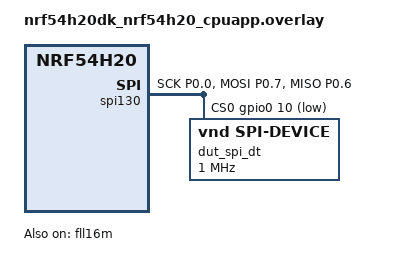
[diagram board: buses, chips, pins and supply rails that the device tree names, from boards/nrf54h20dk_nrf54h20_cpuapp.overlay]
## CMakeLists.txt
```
#
# Copyright (c) 2025 Nordic Semiconductor ASA
#
# SPDX-License-Identifier: LicenseRef-Nordic-5-Clause
#

cmake_minimum_required(VERSION 3.20.0)

find_package(Zephyr REQUIRED HINTS $ENV{ZEPHYR_BASE})

project(spim_clock_control)

target_sources(app PRIVATE src/main.c)
```

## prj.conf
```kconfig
CONFIG_SPI=y

CONFIG_CLOCK_CONTROL=y
CONFIG_ZTEST=y
```

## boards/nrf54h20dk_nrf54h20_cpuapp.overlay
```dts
/*
 * Copyright (c) 2025 Nordic Semiconductor ASA
 *
 * SPDX-License-Identifier: LicenseRef-Nordic-5-Clause
 */

/* Required loopbacks:
 * P0.07 <-> P0.06
 */

&pinctrl {
	dut_spi_default: dut_spi_default {
		group1 {
			psels = <NRF_PSEL(SPIM_SCK, 0, 0)>,
				<NRF_PSEL(SPIM_MOSI, 0, 7)>,
				<NRF_PSEL(SPIM_MISO, 0, 6)>;
		};
	};

	dut_spi_sleep: dut_spi_sleep {
		group1 {
			psels = <NRF_PSEL(SPIM_SCK, 0, 0)>,
				<NRF_PSEL(SPIM_MISO, 0, 6)>,
				<NRF_PSEL(SPIM_MOSI, 0, 7)>;
			low-power-enable;
		};
	};
};

dut_spi: &spi130 {
	compatible = "nordic,nrf-spim";
	status = "okay";
	pinctrl-0 = <&dut_spi_default>;
	pinctrl-1 = <&dut_spi_sleep>;
	pinctrl-names = "default", "sleep";
	overrun-character = <0x00>;
	memory-regions = <&cpuapp_dma_region>;
	cs-gpios = <&gpio0 10 GPIO_ACTIVE_LOW>;
	zephyr,pm-device-runtime-auto;

	dut_spi_dt: test-spi-dev@0 {
		compatible = "vnd,spi-device";
		reg = <0>;
		spi-max-frequency = <DT_FREQ_M(1)>;
	};
};

&fll16m {
	status = "okay";
};

&exmif {
	status = "disabled";
};
```

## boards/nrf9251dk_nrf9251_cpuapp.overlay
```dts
/*
 * Copyright (c) 2026 Nordic Semiconductor ASA
 *
 * SPDX-License-Identifier: LicenseRef-Nordic-5-Clause
 */

/* Required loopbacks:
 * P2.03 <-> P2.09
 */

&pinctrl {
	dut_spi_default: dut_spi_default {
		group1 {
			psels = <NRF_PSEL(SPIM_SCK, 2, 0)>,
				<NRF_PSEL(SPIM_MOSI, 2, 3)>,
				<NRF_PSEL(SPIM_MISO, 2, 9)>;
		};
	};

	dut_spi_sleep: dut_spi_sleep {
		group1 {
			psels = <NRF_PSEL(SPIM_SCK, 2, 0)>,
				<NRF_PSEL(SPIM_MOSI, 2, 3)>,
				<NRF_PSEL(SPIM_MISO, 2, 9)>;
			low-power-enable;
		};
	};
};

dut_spi: &spi130 {
	compatible = "nordic,nrf-spim";
	status = "okay";
	pinctrl-0 = <&dut_spi_default>;
	pinctrl-1 = <&dut_spi_sleep>;
	pinctrl-names = "default", "sleep";
	overrun-character = <0x00>;
	memory-regions = <&cpuapp_dma_region>;
	cs-gpios = <&gpio1 4 GPIO_ACTIVE_LOW>;
	zephyr,pm-device-runtime-auto;

	dut_spi_dt: test-spi-dev@0 {
		compatible = "vnd,spi-device";
		reg = <0>;
		spi-max-frequency = <DT_FREQ_M(1)>;
	};
};

&gpio1 {
	status = "okay";
};

&fll16m {
	status = "okay";
};

/* Disable EXMIF node if it's added to the board definition later. */
```

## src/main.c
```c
/*
 * Copyright (c) 2025 Nordic Semiconductor ASA
 *
 * SPDX-License-Identifier: LicenseRef-Nordic-5-Clause
 */

#include <zephyr/kernel.h>
#include <zephyr/drivers/spi.h>
#include <zephyr/devicetree/clocks.h>
#include <zephyr/drivers/clock_control/nrf_clock_control.h>
#include <dmm.h>
#include <zephyr/ztest.h>

/* SPI MODE 0 */
#define SPI_MODE (SPI_OP_MODE_CONTROLLER | SPI_WORD_SET(8) | SPI_LINES_SINGLE | SPI_TRANSFER_MSB)

#define DUT_SPI_NODE		     DT_NODELABEL(dut_spi)
#define TEST_BUFFER_SIZE	     512
#define REQUEST_SERVING_WAIT_TIME_US 10000

static struct spi_dt_spec spim_spec = SPI_DT_SPEC_GET(DT_NODELABEL(dut_spi_dt), SPI_MODE);
const struct device *const fll16m_dev = DEVICE_DT_GET(DT_NODELABEL(fll16m));

static uint8_t tx_buffer[TEST_BUFFER_SIZE] DMM_MEMORY_SECTION(DT_BUS(DT_NODELABEL(dut_spi_dt)));
static uint8_t rx_buffer[TEST_BUFFER_SIZE] DMM_MEMORY_SECTION(DT_BUS(DT_NODELABEL(dut_spi_dt)));

const struct nrf_clock_spec fll16m_open_loop_mode = {
	.frequency = MHZ(16),
	.accuracy = NRF_CLOCK_CONTROL_ACCURACY_PPM(20000),
	.precision = NRF_CLOCK_CONTROL_PRECISION_DEFAULT,
};

const struct nrf_clock_spec fll16m_bypass_mode = {
	.frequency = MHZ(16),
	.accuracy = NRF_CLOCK_CONTROL_ACCURACY_PPM(30),
	.precision = NRF_CLOCK_CONTROL_PRECISION_DEFAULT,
};

static void request_clock_spec(const struct device *clk_dev, const struct nrf_clock_spec *clk_spec)
{
	int ret = 0;
	int res = 0;
	struct onoff_client cli;
	uint32_t rate;

	TC_PRINT("Clock: %s, requesting frequency=%d, accuracy=%d, precision=%d\n", clk_dev->name,
		 clk_spec->frequency, clk_spec->accuracy, clk_spec->precision);
	sys_notify_init_spinwait(&cli.notify);
	ret = nrf_clock_control_request(clk_dev, clk_spec, &cli);
	zassert_true((ret >= 0 && ret <= 2),
		     "Clock control request response outside of range, ret = %d\n", ret);
	do {
		ret = sys_notify_fetch_result(&cli.notify, &res);
		k_yield();
	} while (ret == -EAGAIN);
	zassert_ok(ret, "ret != 0, ret = %d\n", ret);
	zassert_ok(res, "ret != 0, ret = %d\n", res);
	ret = clock_control_get_rate(clk_dev, NULL, &rate);
	if (ret != -ENOSYS) {
		zassert_ok(ret, "ret != 0, ret = %d\n", ret);
		zassert_equal(rate, clk_spec->frequency,
			      "Clock frequency != requested frequnecy\n");
		k_busy_wait(REQUEST_SERVING_WAIT_TIME_US);
	}
}

static void *test_setup(void)
{
	zassert_true(spi_is_ready_dt(&spim_spec), "SPIM device is not ready");

	return NULL;
}

static void set_buffers(void)
{
	memset(tx_buffer, 0x8B, TEST_BUFFER_SIZE);
	memset(rx_buffer, 0xFF, TEST_BUFFER_SIZE);
}

static void test_spim_with_clock_control(void)
{
	int err;

	struct spi_buf tx_spi_buf = {.buf = tx_buffer, .len = TEST_BUFFER_SIZE};
	struct spi_buf_set tx_spi_buf_set = {.buffers = &tx_spi_buf, .count = 1};

	struct spi_buf rx_spi_buf = {.buf = rx_buffer, .len = TEST_BUFFER_SIZE};
	struct spi_buf_set rx_spi_buf_set = {.buffers = &rx_spi_buf, .count = 1};

	set_buffers();

	err = spi_transceive_dt(&spim_spec, &tx_spi_buf_set, &rx_spi_buf_set);
	zassert_ok(err, "SPI transceive failed: %d\n", err);

	zassert_mem_equal(tx_buffer, rx_buffer, TEST_BUFFER_SIZE, "TX buffer != RX buffer\n");
}

ZTEST(spim_clock_control, test_spim_with_clock_control_active_fll16m_open_loop)
{
	request_clock_spec(fll16m_dev, &fll16m_open_loop_mode);
	test_spim_with_clock_control();
}

ZTEST(spim_clock_control, test_spim_with_clock_control_active_fll16m_bypass)
{
	request_clock_spec(fll16m_dev, &fll16m_bypass_mode);
	test_spim_with_clock_control();
}

ZTEST_SUITE(spim_clock_control, NULL, test_setup, NULL, NULL, NULL);
```
